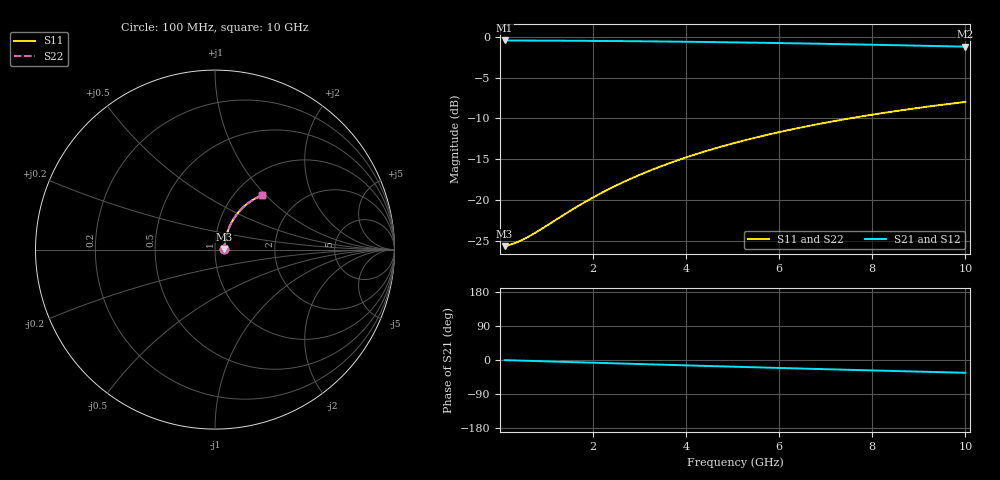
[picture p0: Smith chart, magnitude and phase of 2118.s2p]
# Hz S RI R 50.00
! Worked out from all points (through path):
!   100 points, 100 MHz to 10 GHz, reference 50 ohm
!   highest |S21| = -0.46 dB at 100 MHz (marker M1); lowest = -1.2 dB at 10 GHz (marker M2)
!   group delay of S21, straight-line fit = 9.4 ps
!   lowest |S11| = -25.6 dB at 100 MHz (marker M3), VSWR 1.11, Z = 55.5 + j0.46 ohm
!   |S11| at or under -10 dB: start of sweep to 7.518 GHz
!   |S22| runs from -25.6 to -8.0 dB; largest |S21 - S12| = 0
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1e8  0.0521 0.00414  0.9479 -0.00593  0.9479 -0.00593  0.0521 0.00414
3e8  0.0528 0.0124  0.9471 -0.0178  0.9471 -0.0178  0.0528 0.0124
4e8  0.0532 0.0165  0.9467 -0.0237  0.9467 -0.0237  0.0532 0.0165
6e8  0.054 0.0247  0.9459 -0.0355  0.9459 -0.0355  0.054 0.0247
8e8  0.055 0.0329  0.9449 -0.0472  0.9449 -0.0472  0.055 0.0329
1.5e9  0.0598 0.0613  0.9398 -0.0881  0.9398 -0.0881  0.0598 0.0613
1.8e9  0.0625 0.0733  0.937 -0.1055  0.937 -0.1055  0.0625 0.0733
2.2e9  0.0668 0.089  0.9324 -0.1284  0.9324 -0.1284  0.0668 0.089
2.6e9  0.0718 0.1045  0.9271 -0.1511  0.9271 -0.1511  0.0718 0.1045
3e9  0.0775 0.1197  0.921 -0.1734  0.921 -0.1734  0.0775 0.1197
3.4e9  0.084 0.1345  0.9141 -0.1954  0.9141 -0.1954  0.084 0.1345
3.8e9  0.0911 0.1488  0.9065 -0.217  0.9065 -0.217  0.0911 0.1488
4.2e9  0.0988 0.1628  0.8982 -0.2381  0.8982 -0.2381  0.0988 0.1628
4.6e9  0.1072 0.1763  0.8893 -0.2588  0.8893 -0.2588  0.1072 0.1763
5.1e9  0.1184 0.1924  0.8772 -0.2839  0.8772 -0.2839  0.1184 0.1924
5.5e9  0.128 0.2047  0.8669 -0.3034  0.8669 -0.3034  0.128 0.2047
5.9e9  0.1381 0.2164  0.8561 -0.3224  0.8561 -0.3224  0.1381 0.2164
6.7e9  0.1596 0.2381  0.8329 -0.3586  0.8329 -0.3586  0.1596 0.2381
7.5e9  0.1826 0.2574  0.8079 -0.3924  0.8079 -0.3924  0.1826 0.2574
8.4e9  0.2099 0.2761  0.7782 -0.4275  0.7782 -0.4275  0.2099 0.2761
9.2e9  0.235 0.2901  0.7506 -0.4561  0.7506 -0.4561  0.235 0.2901
1e10  0.2607 0.3016  0.7223 -0.4823  0.7223 -0.4823  0.2607 0.3016
